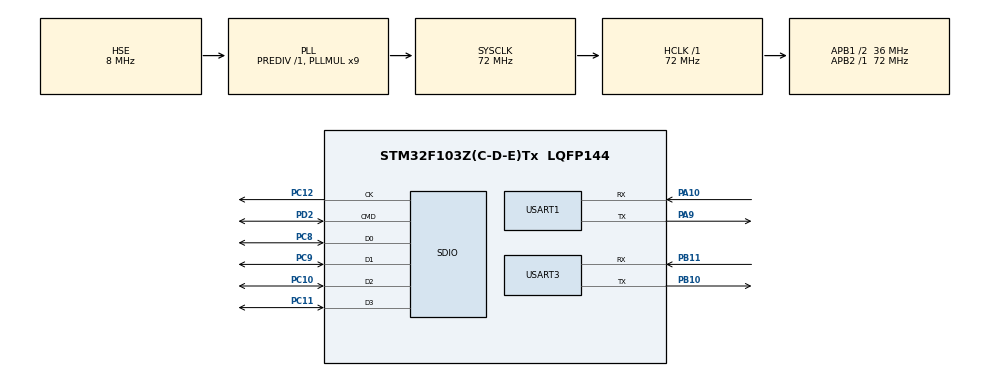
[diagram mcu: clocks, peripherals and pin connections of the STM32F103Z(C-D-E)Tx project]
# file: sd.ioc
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FATFS._CODE_PAGE=936
FATFS._USE_LFN=2
Mcu.Family=STM32F1
Mcu.Name=STM32F103Z(C-D-E)Tx
Mcu.Package=LQFP144
NVIC.PriorityGroup=NVIC_PRIORITYGROUP_4
NVIC.SDIO_IRQn=true\:0\:0\:false\:false\:true\:true\:true
OSC_IN.Mode=HSE-External-Oscillator
OSC_IN.Signal=RCC_OSC_IN
OSC_OUT.Mode=HSE-External-Oscillator
OSC_OUT.Signal=RCC_OSC_OUT
PA10.Mode=Asynchronous
PA10.Signal=USART1_RX
PA13.Mode=JTAG_5_pins
PA13.Signal=SYS_JTMS-SWDIO
PA14.Mode=JTAG_5_pins
PA14.Signal=SYS_JTCK-SWCLK
PA15.Mode=JTAG_5_pins
PA15.Signal=SYS_JTDI
PA9.Mode=Asynchronous
PA9.Signal=USART1_TX
PB10.Mode=Asynchronous
PB10.Signal=USART3_TX
PB11.Mode=Asynchronous
PB11.Signal=USART3_RX
PB3.Mode=JTAG_5_pins
PB3.Signal=SYS_JTDO-TRACESWO
PB4.Mode=JTAG_5_pins
PB4.Signal=SYS_NJTRST
PC10.Mode=SD_4_bits_Wide_bus
PC10.Signal=SDIO_D2
PC11.Mode=SD_4_bits_Wide_bus
PC11.Signal=SDIO_D3
PC12.Mode=SD_4_bits_Wide_bus
PC12.Signal=SDIO_CK
PC8.Mode=SD_4_bits_Wide_bus
PC8.Signal=SDIO_D0
PC9.Mode=SD_4_bits_Wide_bus
PC9.Signal=SDIO_D1
PD2.Mode=SD_4_bits_Wide_bus
PD2.Signal=SDIO_CMD
ProjectManager.HeapSize=0x200
ProjectManager.StackSize=0x1000
ProjectManager.TargetToolchain=MDK-ARM V5
RCC.AHBFreq_Value=72000000
RCC.APB1CLKDivider=RCC_HCLK_DIV2
RCC.APB1Freq_Value=36000000
RCC.APB1TimFreq_Value=72000000
RCC.APB2Freq_Value=72000000
RCC.APB2TimFreq_Value=72000000
RCC.HCLKFreq_Value=72000000
RCC.PLLMUL=RCC_PLL_MUL9
RCC.PLLSourceVirtual=RCC_PLLSOURCE_HSE
RCC.SYSCLKFreq_VALUE=72000000
RCC.SYSCLKSource=RCC_SYSCLKSOURCE_PLLCLK
RCC.USBFreq_Value=72000000
SDIO.ClockDiv=4
USART1.VirtualMode=VM_ASYNC
USART3.VirtualMode=VM_ASYNC
VP_FATFS_VS_SDIO.Mode=SDIO
board=custom

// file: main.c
/* USER CODE BEGIN Header */
/**
  ******************************************************************************
  * @file           : main.c
  * @brief          : Main program body
  ******************************************************************************
  * @attention
  *
  * <h2><center>&copy; Copyright (c) 2019 STMicroelectronics.
  * All rights reserved.</center></h2>
  *
  * This software component is licensed by ST under BSD 3-Clause license,
  * the "License"; You may not use this file except in compliance with the
  * License. You may obtain a copy of the License at:
  *                        opensource.org/licenses/BSD-3-Clause
  *
  ******************************************************************************
  */
/* USER CODE END Header */

#include "main.h"
#include "fatfs.h"
#include "sdio.h"
#include "usart.h"
#include "gpio.h"

/* USER CODE BEGIN PM */
//FATFS fs;													/* FatFs文件系统对象 */
//SDFile												/* 文件对象 */
FRESULT f_res;                    /* 文件操作结果 */
UINT fnum;            					  /* 文件成功读写数量 */
BYTE ReadBuffer[1024]={0};        /* 读缓冲区 */
BYTE WriteBuffer[]= "今天是个好日子，原标题：唐德诉高云翔案庭审结束，张起淮透露其澳洲案情：法院无任何证据10月8日，唐德影视晒出与天猫技术签订的合作协议，宣布此前受主演负面事件影响，未能播出的电视剧《赢天下》将启动重拍，高云翔和范冰冰将全部被另行指定的“一线演员”顶替。重拍将通过重新布景拍摄、技术处理、重新配音等方式进行，保证原有的观赏性和表达方式不受影响，预计总花费将超过6000万元。\n";/* 写缓冲区*/

static void printf_fatfs_error(FRESULT fresult);

/* USER CODE END PM */

void SystemClock_Config(void);

int main(void)
{

  /* MCU Configuration--------------------------------------------------------*/

  /* Reset of all peripherals, Initializes the Flash interface and the Systick. */
  HAL_Init();

  /* Configure the system clock */
  SystemClock_Config();

  /* Initialize all configured peripherals */
  MX_GPIO_Init();
  MX_SDIO_SD_Init();
  MX_USART3_UART_Init();
  MX_FATFS_Init();
  MX_USART1_UART_Init();
  /* USER CODE BEGIN 2 */
	printf("OK");
	if(retSD == 0)
  {
	//在SD卡挂载文件系统，文件系统挂载时会对SD卡初始化
	f_res = f_mount(&SDFatFS,(TCHAR const*)SDPath,1);
	printf_fatfs_error(f_res);
    /*----------------------- 格式化测试 ---------------------------*/
    /* 如果没有文件系统就格式化创建创建文件系统 */
    if(f_res == FR_NO_FILESYSTEM)
    {
      printf("》SD卡还没有文件系统，即将进行格式化...\r\n");
      /* 格式化 */
      f_res=f_mkfs((TCHAR const*)SDPath,0,0);

      if(f_res == FR_OK)
      {
        printf("》SD卡已成功格式化文件系统。\r\n");
        /* 格式化后，先取消挂载 */
        f_res = f_mount(NULL,(TCHAR const*)SDPath,1);
        /* 重新挂载	*/
        f_res = f_mount(&SDFatFS,(TCHAR const*)SDPath,1);
      }
      else
      {
        printf("《《格式化失败。》》\r\n");
        while(1);
      }
    }
    else if(f_res!=FR_OK)
    {
      printf("！！SD卡挂载文件系统失败。(%d)\r\n",f_res);
      printf_fatfs_error(f_res);
      while(1);
    }
    else
    {
      printf("》文件系统挂载成功，可以进行读写测试\r\n");
    }

    /*----------------------- 文件系统测试：写测试 -----------------------------*/
    /* 打开文件，如果文件不存在则创建它 */
    printf("****** 即将进行文件写入测试... ******\r\n");
    f_res = f_open(&SDFile, "FatFs读写测试文件.txt",FA_CREATE_ALWAYS | FA_WRITE );
    if ( f_res == FR_OK )
    {
      printf("》打开/创建FatFs读写测试文件.txt文件成功，向文件写入数据。\r\n");
      /* 将指定存储区内容写入到文件内 */
      f_res=f_write(&SDFile,WriteBuffer,sizeof(WriteBuffer),&fnum);
      if(f_res==FR_OK)
      {
        printf("》文件写入成功，写入字节数据：%d\r\n",fnum);
        printf("》向文件写入的数据为：\r\n%s\r\n",WriteBuffer);
      }
      else
      {
        printf("！！文件写入失败：(%d)\r\n",f_res);
      }
      /* 不再读写，关闭文件 */
      f_close(&SDFile);
    }
    else
    {
      printf("！！打开/创建文件失败。\r\n");
    }

    /*------------------- 文件系统测试：读测试 ------------------------------------*/
    printf("****** 即将进行文件读取测试... ******\r\n");
    f_res = f_open(&SDFile, "FatFs读写测试文件.txt", FA_OPEN_EXISTING | FA_READ);
    if(f_res == FR_OK)
    {
      printf("》打开文件成功。\r\n");
      f_res = f_read(&SDFile, ReadBuffer, sizeof(ReadBuffer), &fnum);
      if(f_res==FR_OK)
      {
        printf("》文件读取成功,读到字节数据：%d\r\n",fnum);
        printf("》读取得的文件数据为：\r\n%s \r\n", ReadBuffer);
      }
      else
      {
        printf("！！文件读取失败：(%d)\r\n",f_res);
      }
    }
    else
    {
      printf("！！打开文件失败。\r\n");
    }
    /* 不再读写，关闭文件 */
    f_close(&SDFile);

    /* 不再使用，取消挂载 */
    f_res = f_mount(NULL,(TCHAR const*)SDPath,1);

  /* 注销一个FatFS设备：SD卡 */
    FATFS_UnLinkDriver(SDPath);
	}
  /* USER CODE END 2 */

  /* Infinite loop */
  while (1)
  {

  }
}

void SystemClock_Config(void)
{
  RCC_OscInitTypeDef RCC_OscInitStruct = {0};
  RCC_ClkInitTypeDef RCC_ClkInitStruct = {0};

  /** Initializes the CPU, AHB and APB busses clocks
  */
  RCC_OscInitStruct.OscillatorType = RCC_OSCILLATORTYPE_HSE;
  RCC_OscInitStruct.HSEState = RCC_HSE_ON;
  RCC_OscInitStruct.HSEPredivValue = RCC_HSE_PREDIV_DIV1;
  RCC_OscInitStruct.HSIState = RCC_HSI_ON;
  RCC_OscInitStruct.PLL.PLLState = RCC_PLL_ON;
  RCC_OscInitStruct.PLL.PLLSource = RCC_PLLSOURCE_HSE;
  RCC_OscInitStruct.PLL.PLLMUL = RCC_PLL_MUL9;
  if (HAL_RCC_OscConfig(&RCC_OscInitStruct) != HAL_OK)
  {
    Error_Handler();
  }
  /** Initializes the CPU, AHB and APB busses clocks
  */
  RCC_ClkInitStruct.ClockType = RCC_CLOCKTYPE_HCLK|RCC_CLOCKTYPE_SYSCLK
                              |RCC_CLOCKTYPE_PCLK1|RCC_CLOCKTYPE_PCLK2;
  RCC_ClkInitStruct.SYSCLKSource = RCC_SYSCLKSOURCE_PLLCLK;
  RCC_ClkInitStruct.AHBCLKDivider = RCC_SYSCLK_DIV1;
  RCC_ClkInitStruct.APB1CLKDivider = RCC_HCLK_DIV2;
  RCC_ClkInitStruct.APB2CLKDivider = RCC_HCLK_DIV1;

  if (HAL_RCC_ClockConfig(&RCC_ClkInitStruct, FLASH_LATENCY_2) != HAL_OK)
  {
    Error_Handler();
  }
}

/* USER CODE BEGIN 4 */
static void printf_fatfs_error(FRESULT fresult)
{
  switch(fresult)
  {
    case FR_OK:                   //(0)
      printf("》操作成功。\r\n");
    break;
    case FR_DISK_ERR:             //(1)
      printf("！！硬件输入输出驱动出错。\r\n");
    break;
    case FR_INT_ERR:              //(2)
      printf("！！断言错误。\r\n");
    break;
    case FR_NOT_READY:            //(3)
      printf("！！物理设备无法工作。\r\n");
    break;
    case FR_NO_FILE:              //(4)
      printf("！！无法找到文件。\r\n");
    break;
    case FR_NO_PATH:              //(5)
      printf("！！无法找到路径。\r\n");
    break;
    case FR_INVALID_NAME:         //(6)
      printf("！！无效的路径名。\r\n");
    break;
    case FR_DENIED:               //(7)
    case FR_EXIST:                //(8)
      printf("！！拒绝访问。\r\n");
    break;
    case FR_INVALID_OBJECT:       //(9)
      printf("！！无效的文件或路径。\r\n");
    break;
    case FR_WRITE_PROTECTED:      //(10)
      printf("！！逻辑设备写保护。\r\n");
    break;
    case FR_INVALID_DRIVE:        //(11)
      printf("！！无效的逻辑设备。\r\n");
    break;
    case FR_NOT_ENABLED:          //(12)
      printf("！！无效的工作区。\r\n");
    break;
    case FR_NO_FILESYSTEM:        //(13)
      printf("！！无效的文件系统。\r\n");
    break;
    case FR_MKFS_ABORTED:         //(14)
      printf("！！因函数参数问题导致f_mkfs函数操作失败。\r\n");
    break;
    case FR_TIMEOUT:              //(15)
      printf("！！操作超时。\r\n");
    break;
    case FR_LOCKED:               //(16)
      printf("！！文件被保护。\r\n");
    break;
    case FR_NOT_ENOUGH_CORE:      //(17)
      printf("！！长文件名支持获取堆空间失败。\r\n");
    break;
    case FR_TOO_MANY_OPEN_FILES:  //(18)
      printf("！！打开太多文件。\r\n");
    break;
    case FR_INVALID_PARAMETER:    // (19)
      printf("！！参数无效。\r\n");
    break;
  }
}
/* USER CODE END 4 */

void Error_Handler(void)
{
}

/************************ (C) COPYRIGHT STMicroelectronics *****END OF FILE****/
